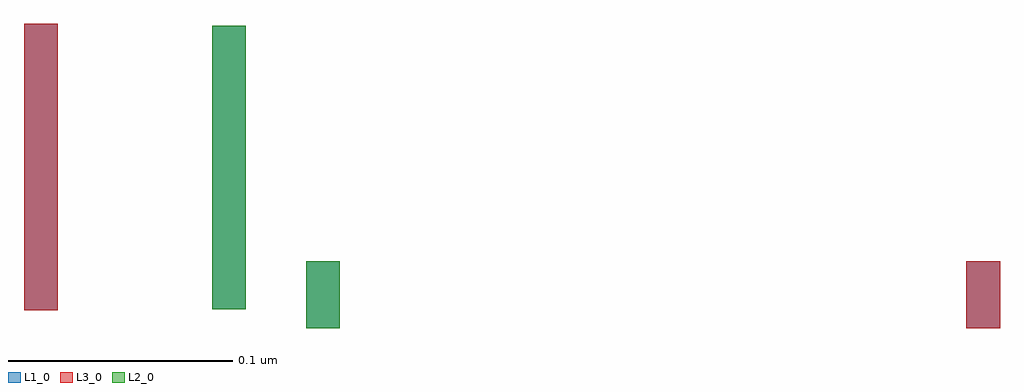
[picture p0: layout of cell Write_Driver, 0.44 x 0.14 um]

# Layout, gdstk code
import gdstk
lib = gdstk.Library(unit=1e-6, precision=5e-10)
def R(c, l, rs):  # rectangles x0, y0, x1, y1
    for r in rs: c.add(gdstk.rectangle(r[:2], r[2:], *l))
L1_0 = (1, 0)
L2_0 = (2, 0)
L3_0 = (3, 0)

write_driver = lib.new_cell('Write_Driver')
R(write_driver, L1_0, [(0.0645,0.1195,0.0795,0.1495), (0.359,0.1195,0.374,0.1495), (-0.0615,0.1275,-0.0465,0.2555), (0.0225,0.128,0.0375,0.2545)])
R(write_driver, L2_0, [(0.0645,0.1195,0.0795,0.1495), (0.0225,0.128,0.0375,0.2545)])
R(write_driver, L3_0, [(0.359,0.1195,0.374,0.1495), (-0.0615,0.1275,-0.0465,0.2555)])

lib.write_gds('Write_Driver.gds')
